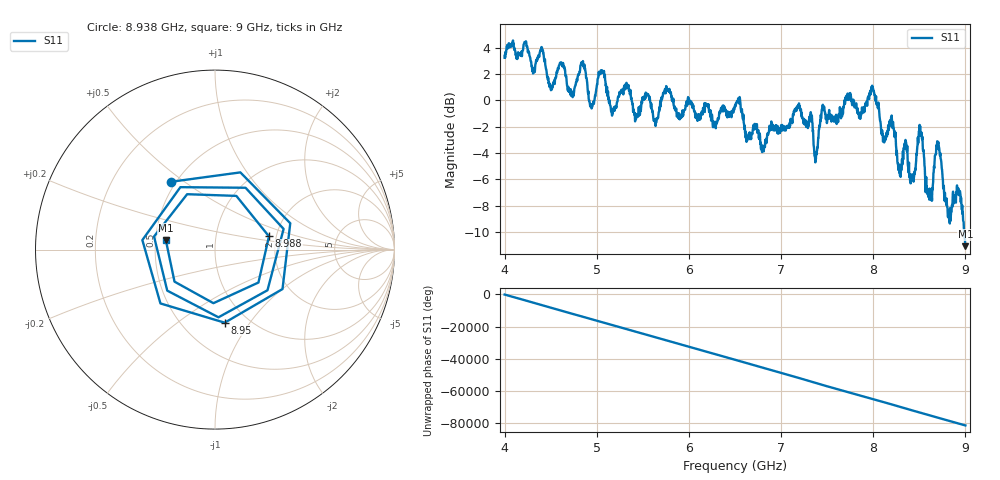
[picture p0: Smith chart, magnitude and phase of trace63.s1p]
! Created with skrf 1.8.0 (http://scikit-rf.org).
# Hz S RI R 50.0
!freq ReS11 ImS11
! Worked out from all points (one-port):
!   1601 points, 4 GHz to 9 GHz, reference 50 ohm
!   lowest |S11| = -11.1 dB at 9 GHz (marker M1), VSWR 1.78, Z = 28.3 + j3.32 ohm
!   |S11| at or under -10 dB: 8.985843 GHz to end of sweep
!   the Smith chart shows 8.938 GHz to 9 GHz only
!   S11 on the Smith chart (normalised r, x): 8.938 GHz: 0.47, +0.45; 8.95 GHz: 0.78, -0.77; 8.988 GHz: 1.83, +0.30; 9 GHz: 0.57, +0.07
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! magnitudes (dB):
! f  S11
! 4 GHz  3.2
! 4.503 GHz  0.8
! 4.625 GHz  2.6
! 4.728 GHz  0.4
! 4.853 GHz  2.6
! 4.944 GHz  -0.6
! 5.047 GHz  2.1
! 5.169 GHz  -0.8
! 5.25 GHz  0.5
! 5.875 GHz  -1.0
! 6.5 GHz  -0.4
! 6.8 GHz  -3.8
! 7.125 GHz  -1.3
! 7.378 GHz  -4.4
! 7.45 GHz  -0.4
! 7.75 GHz  0.6
! 7.994 GHz  1.0
! 8.112 GHz  -3.1
! 8.375 GHz  -4.9
! 8.425 GHz  -5.7
! 8.509 GHz  -1.9
! 8.612 GHz  -6.7
! 8.703 GHz  -3.4
! 8.819 GHz  -8.4
! 8.938 GHz  -6.9
! 8.95 GHz  -7.7
! 8.988 GHz  -10.2
! 9 GHz  -11.1
